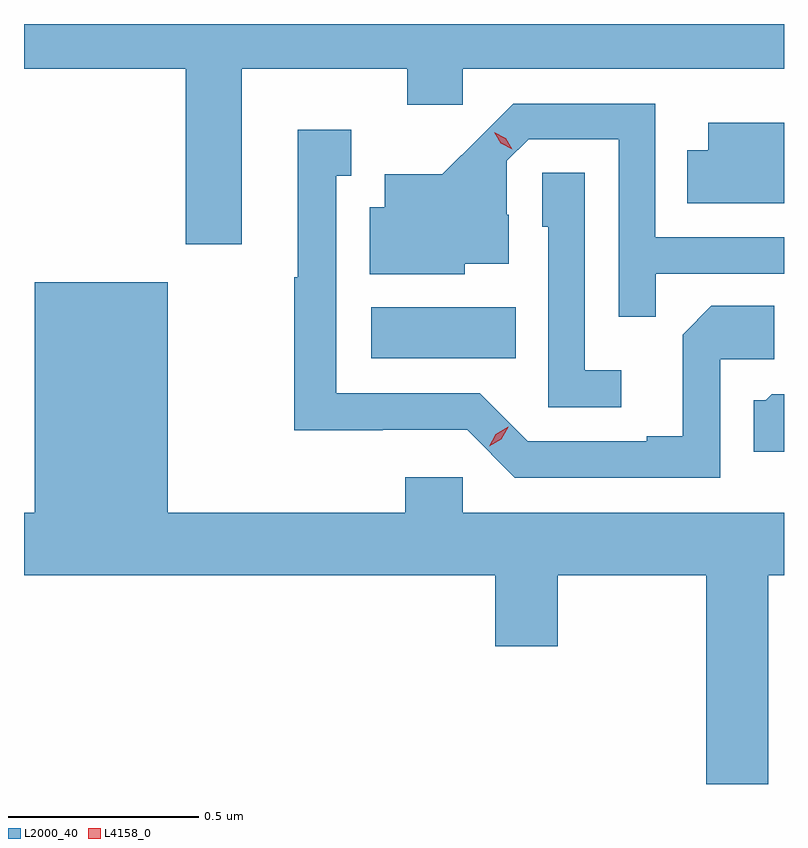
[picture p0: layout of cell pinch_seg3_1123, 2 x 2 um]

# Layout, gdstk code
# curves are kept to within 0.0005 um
import gdstk
lib = gdstk.Library(unit=1e-6, precision=1e-09)
def R(c, l, rs):  # rectangles x0, y0, x1, y1
    for r in rs: c.add(gdstk.rectangle(r[:2], r[2:], *l))
def P(c, l, *ps):  # polygons
    for p in ps: c.add(gdstk.Polygon(p, *l))
L2000_40 = (2000, 40)
L4158_0 = (4158, 0)

pinch_seg3_1123 = lib.new_cell('pinch_seg3_1123')
R(pinch_seg3_1123, L2000_40, [(332.514,697.49,332.894,697.624)])
P(pinch_seg3_1123, L2000_40, [(332.173,698.252),(332.608,698.252),(332.608,698.157),(332.754,698.157),(332.754,698.252),(333.6,698.252),(333.6,698.37),(331.6,698.37),(331.6,698.252),(332.026,698.252),(332.026,697.791),(332.173,697.791)],
  [(333.263,697.713),(333.6,697.713),(333.6,697.809),(333.261,697.809),(333.261,698.16),(332.888,698.16),(332.701,697.975),(332.549,697.975),(332.549,697.888),(332.51,697.888),(332.51,697.712),(332.76,697.712),(332.76,697.739),(332.875,697.739),(332.875,697.868),(332.871,697.868),(332.871,698.01),(332.928,698.067),(333.165,698.067),(333.165,697.6),(333.263,697.6)],
  [(333.6,698.11),(333.401,698.11),(333.401,698.038),(333.346,698.038),(333.346,697.898),(333.6,697.898)],
  [(333.432,697.488),(333.574,697.488),(333.574,697.628),(333.409,697.628),(333.333,697.552),(333.333,697.285),(333.239,697.285),(333.239,697.272),(332.925,697.272),(332.799,697.398),(332.422,697.398),(332.422,697.971),(332.461,697.971),(332.461,698.092),(332.321,698.092),(332.321,697.703),(332.311,697.703),(332.311,697.301),(332.544,697.301),(332.544,697.302),(332.766,697.302),(332.892,697.176),(333.432,697.176)],
  [(333.172,697.459),(333.075,697.459),(333.075,697.979),(332.964,697.979),(332.964,697.836),(332.979,697.836),(332.979,697.362),(333.172,697.362)],
  [(333.559,696.92),(333.6,696.92),(333.6,697.084),(332.754,697.084),(332.754,697.177),(332.603,697.177),(332.603,697.084),(331.978,697.084),(331.978,697.69),(331.628,697.69),(331.628,697.084),(331.6,697.084),(331.6,696.92),(332.84,696.92),(332.84,696.732),(333.004,696.732),(333.004,696.92),(333.395,696.92),(333.395,696.37),(333.559,696.37)],
  [(333.6,697.396),(333.568,697.396),(333.552,697.38),(333.521,697.38),(333.521,697.244),(333.6,697.244)])
P(pinch_seg3_1123, L4158_0, [(332.885,698.04),(332.854,698.056),(332.837,698.085),(332.837,698.085),(332.837,698.085),(332.868,698.07),(332.885,698.041),(332.885,698.04)],
  [(332.824,697.259),(332.824,697.259),(332.842,697.291),(332.874,697.31),(332.874,697.31),(332.874,697.309),(332.856,697.277),(332.824,697.259)])

lib.write_gds('pinch_seg3_1123.gds')
